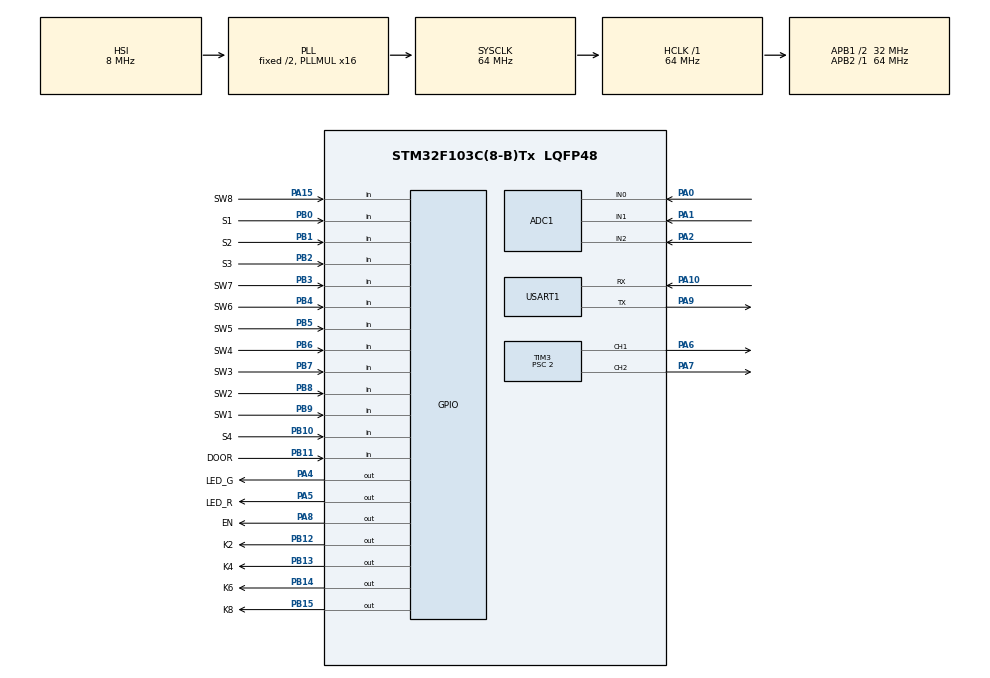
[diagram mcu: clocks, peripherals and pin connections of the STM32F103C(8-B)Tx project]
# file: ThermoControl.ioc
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ADC1.Channel-0\#ChannelRegularConversion=ADC_CHANNEL_0
ADC1.Channel-1\#ChannelRegularConversion=ADC_CHANNEL_1
ADC1.Channel-2\#ChannelRegularConversion=ADC_CHANNEL_2
ADC1.ContinuousConvMode=ENABLE
ADC1.NbrOfConversion=3
ADC1.NbrOfConversionFlag=1
ADC1.Rank-0\#ChannelRegularConversion=1
ADC1.Rank-1\#ChannelRegularConversion=2
ADC1.Rank-2\#ChannelRegularConversion=3
ADC1.SamplingTime-0\#ChannelRegularConversion=ADC_SAMPLETIME_41CYCLES_5
ADC1.SamplingTime-1\#ChannelRegularConversion=ADC_SAMPLETIME_41CYCLES_5
ADC1.SamplingTime-2\#ChannelRegularConversion=ADC_SAMPLETIME_41CYCLES_5
ADC1.master=1
Dma.ADC1.0.Direction=DMA_PERIPH_TO_MEMORY
Dma.ADC1.0.Instance=DMA1_Channel1
Dma.ADC1.0.MemDataAlignment=DMA_MDATAALIGN_HALFWORD
Dma.ADC1.0.MemInc=DMA_MINC_ENABLE
Dma.ADC1.0.Mode=DMA_NORMAL
Dma.ADC1.0.PeriphDataAlignment=DMA_PDATAALIGN_HALFWORD
Dma.ADC1.0.PeriphInc=DMA_PINC_DISABLE
Dma.ADC1.0.Priority=DMA_PRIORITY_LOW
Dma.Request0=ADC1
FREERTOS.BinarySemaphores01=mbSem,Static,mbSemControlBlock
FREERTOS.Events01=xOSEvent,Static,xOSEventControlBlock;xUARTEvnet,Static,xUARTEvnetControlBlock;xSystemControlEvent,Static,xSystemControlEventControlBlock
FREERTOS.INCLUDE_xSemaphoreGetMutexHolder=1
FREERTOS.Tasks01=defaultTask,24,128,StartDefaultTask,Default,NULL,Static,defaultTaskBuffer,defaultTaskControlBlock;DIN_DOUT,24,160,vDTask,As external,NULL,Static,DIN_DOUTBuffer,DIN_DOUTControlBlock;UARTTask,32,128,StartUARTTask,As external,NULL,Static,UARTTaskBuffer,UARTTaskControlBlock;DataTask,24,256,vDATATask,As external,NULL,Static,DataTaskBuffer,DataTaskControlBlock;MBTask,24,258,vMBTask,As external,NULL,Static,MBTaskBuffer,MBTaskControlBlock
FREERTOS.configUSE_NEWLIB_REENTRANT=1
IWDG.Prescaler=IWDG_PRESCALER_64
Mcu.Family=STM32F1
Mcu.Name=STM32F103C(8-B)Tx
Mcu.Package=LQFP48
NVIC.DMA1_Channel1_IRQn=true\:5\:0\:false\:false\:true\:true\:false\:true\:true
NVIC.PriorityGroup=NVIC_PRIORITYGROUP_4
NVIC.TIM1_UP_IRQn=true\:15\:0\:false\:false\:true\:false\:false\:true\:true
NVIC.TIM2_IRQn=true\:5\:0\:false\:false\:true\:true\:true\:true\:true
NVIC.TIM4_IRQn=true\:5\:0\:false\:false\:true\:true\:true\:true\:true
NVIC.TimeBase=TIM1_UP_IRQn
NVIC.TimeBaseIP=TIM1
NVIC.USART1_IRQn=true\:5\:0\:false\:false\:true\:true\:true\:true\:true
PA0-WKUP.Signal=ADCx_IN0
PA1.Signal=ADCx_IN1
PA10.Mode=Asynchronous
PA10.Signal=USART1_RX
PA13.Mode=Serial_Wire
PA13.Signal=SYS_JTMS-SWDIO
PA14.Mode=Serial_Wire
PA14.Signal=SYS_JTCK-SWCLK
PA15.GPIO_Label=SW8
PA15.Signal=GPIO_Input
PA2.Signal=ADCx_IN2
PA4.GPIO_Label=LED_G
PA4.Signal=GPIO_Output
PA5.GPIO_Label=LED_R
PA5.Signal=GPIO_Output
PA6.GPIO_Speed=GPIO_SPEED_FREQ_HIGH
PA6.Signal=S_TIM3_CH1
PA7.GPIO_Speed=GPIO_SPEED_FREQ_HIGH
PA7.Signal=S_TIM3_CH2
PA8.GPIO_Label=EN
PA8.Signal=GPIO_Output
PA9.Mode=Asynchronous
PA9.Signal=USART1_TX
PB0.GPIO_Label=S1
PB0.Signal=GPIO_Input
PB1.GPIO_Label=S2
PB1.Signal=GPIO_Input
PB10.GPIO_Label=S4
PB10.Signal=GPIO_Input
PB11.GPIO_Label=DOOR
PB11.Signal=GPIO_Input
PB12.GPIO_Label=K2
PB12.Signal=GPIO_Output
PB13.GPIO_Label=K4
PB13.Signal=GPIO_Output
PB14.GPIO_Label=K6
PB14.Signal=GPIO_Output
PB15.GPIO_Label=K8
PB15.Signal=GPIO_Output
PB2.GPIO_Label=S3
PB2.Signal=GPIO_Input
PB3.GPIO_Label=SW7
PB3.Signal=GPIO_Input
PB4.GPIO_Label=SW6
PB4.Signal=GPIO_Input
PB5.GPIO_Label=SW5
PB5.Signal=GPIO_Input
PB6.GPIO_Label=SW4
PB6.Signal=GPIO_Input
PB7.GPIO_Label=SW3
PB7.Signal=GPIO_Input
PB8.GPIO_Label=SW2
PB8.Signal=GPIO_Input
PB9.GPIO_Label=SW1
PB9.Signal=GPIO_Input
PC15-OSC32_OUT.Signal=RCC_OSC32_OUT
PD0-OSC_IN.Signal=RCC_OSC_IN
ProjectManager.HeapSize=0x200
ProjectManager.StackSize=0x400
ProjectManager.TargetToolchain=STM32CubeIDE
RCC.ADCPresc=RCC_ADCPCLK2_DIV6
RCC.AHBFreq_Value=64000000
RCC.APB1CLKDivider=RCC_HCLK_DIV2
RCC.APB1Freq_Value=32000000
RCC.APB1TimFreq_Value=64000000
RCC.APB2Freq_Value=64000000
RCC.APB2TimFreq_Value=64000000
RCC.HCLKFreq_Value=64000000
RCC.PLLMUL=RCC_PLL_MUL16
RCC.SYSCLKFreq_VALUE=64000000
RCC.SYSCLKSource=RCC_SYSCLKSOURCE_PLLCLK
RCC.USBFreq_Value=64000000
SH.ADCx_IN0.0=ADC1_IN0,IN0
SH.ADCx_IN1.0=ADC1_IN1,IN1
SH.ADCx_IN2.0=ADC1_IN2,IN2
SH.S_TIM3_CH1.0=TIM3_CH1,PWM Generation1 CH1
SH.S_TIM3_CH2.0=TIM3_CH2,PWM Generation2 CH2
TIM2.Period=1000
TIM2.Prescaler=3264
TIM2.TIM_MasterOutputTrigger=TIM_TRGO_UPDATE
TIM3.Channel-PWM\ Generation1\ CH1=TIM_CHANNEL_1
TIM3.Channel-PWM\ Generation2\ CH2=TIM_CHANNEL_2
TIM3.OCFastMode_PWM-PWM\ Generation1\ CH1=TIM_OCFAST_ENABLE
TIM3.OCFastMode_PWM-PWM\ Generation2\ CH2=TIM_OCFAST_ENABLE
TIM3.Period=1000
TIM3.Prescaler=2
TIM3.Pulse-PWM\ Generation2\ CH2=500
TIM4.AutoReloadPreload=TIM_AUTORELOAD_PRELOAD_DISABLE
TIM4.Period=2000
TIM4.Prescaler=32000
TIM4.TIM_MasterOutputTrigger=TIM_TRGO_UPDATE
USART1.Parity=PARITY_ODD
USART1.StopBits=STOPBITS_1
USART1.VirtualMode=VM_ASYNC
USART1.WordLength=WORDLENGTH_9B
VP_FREERTOS_VS_CMSIS_V2.Mode=CMSIS_V2
VP_IWDG_VS_IWDG.Mode=IWDG_Activate
VP_SYS_VS_tim1.Mode=TIM1
VP_TIM2_VS_ClockSourceINT.Mode=Internal
VP_TIM3_VS_ClockSourceINT.Mode=Internal
VP_TIM4_VS_ClockSourceINT.Mode=Internal
board=custom

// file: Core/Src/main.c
/* USER CODE BEGIN Header */
/**
  ******************************************************************************
  * @file           : main.c
  * @brief          : Main program body
  ******************************************************************************
  * @attention
  *
  * Copyright (c) 2023 STMicroelectronics.
  * All rights reserved.
  *
  * This software is licensed under terms that can be found in the LICENSE file
  * in the root directory of this software component.
  * If no LICENSE file comes with this software, it is provided AS-IS.
  *
  ******************************************************************************
  */
/* USER CODE END Header */
#include "main.h"
#include "cmsis_os.h"

/* USER CODE BEGIN Includes */
#include "mainFSM.h"
/* USER CODE END Includes */

typedef StaticTask_t osStaticThreadDef_t;
typedef StaticSemaphore_t osStaticSemaphoreDef_t;
typedef StaticEventGroup_t osStaticEventGroupDef_t;

ADC_HandleTypeDef hadc1;
DMA_HandleTypeDef hdma_adc1;

IWDG_HandleTypeDef hiwdg;

TIM_HandleTypeDef htim2;
TIM_HandleTypeDef htim3;
TIM_HandleTypeDef htim4;

UART_HandleTypeDef huart1;

/* Definitions for defaultTask */
osThreadId_t defaultTaskHandle;
uint32_t defaultTaskBuffer[ 128 ];
osStaticThreadDef_t defaultTaskControlBlock;
const osThreadAttr_t defaultTask_attributes = {
  .name = "defaultTask",
  .cb_mem = &defaultTaskControlBlock,
  .cb_size = sizeof(defaultTaskControlBlock),
  .stack_mem = &defaultTaskBuffer[0],
  .stack_size = sizeof(defaultTaskBuffer),
  .priority = (osPriority_t) osPriorityNormal,
};
/* Definitions for DIN_DOUT */
osThreadId_t DIN_DOUTHandle;
uint32_t DIN_DOUTBuffer[ 160 ];
osStaticThreadDef_t DIN_DOUTControlBlock;
const osThreadAttr_t DIN_DOUT_attributes = {
  .name = "DIN_DOUT",
  .cb_mem = &DIN_DOUTControlBlock,
  .cb_size = sizeof(DIN_DOUTControlBlock),
  .stack_mem = &DIN_DOUTBuffer[0],
  .stack_size = sizeof(DIN_DOUTBuffer),
  .priority = (osPriority_t) osPriorityNormal,
};
/* Definitions for UARTTask */
osThreadId_t UARTTaskHandle;
uint32_t UARTTaskBuffer[ 128 ];
osStaticThreadDef_t UARTTaskControlBlock;
const osThreadAttr_t UARTTask_attributes = {
  .name = "UARTTask",
  .cb_mem = &UARTTaskControlBlock,
  .cb_size = sizeof(UARTTaskControlBlock),
  .stack_mem = &UARTTaskBuffer[0],
  .stack_size = sizeof(UARTTaskBuffer),
  .priority = (osPriority_t) osPriorityAboveNormal,
};
/* Definitions for DataTask */
osThreadId_t DataTaskHandle;
uint32_t DataTaskBuffer[ 256 ];
osStaticThreadDef_t DataTaskControlBlock;
const osThreadAttr_t DataTask_attributes = {
  .name = "DataTask",
  .cb_mem = &DataTaskControlBlock,
  .cb_size = sizeof(DataTaskControlBlock),
  .stack_mem = &DataTaskBuffer[0],
  .stack_size = sizeof(DataTaskBuffer),
  .priority = (osPriority_t) osPriorityNormal,
};
/* Definitions for MBTask */
osThreadId_t MBTaskHandle;
uint32_t MBTaskBuffer[ 258 ];
osStaticThreadDef_t MBTaskControlBlock;
const osThreadAttr_t MBTask_attributes = {
  .name = "MBTask",
  .cb_mem = &MBTaskControlBlock,
  .cb_size = sizeof(MBTaskControlBlock),
  .stack_mem = &MBTaskBuffer[0],
  .stack_size = sizeof(MBTaskBuffer),
  .priority = (osPriority_t) osPriorityNormal,
};
/* Definitions for mbSem */
osSemaphoreId_t mbSemHandle;
osStaticSemaphoreDef_t mbSemControlBlock;
const osSemaphoreAttr_t mbSem_attributes = {
  .name = "mbSem",
  .cb_mem = &mbSemControlBlock,
  .cb_size = sizeof(mbSemControlBlock),
};
/* Definitions for xOSEvent */
osEventFlagsId_t xOSEventHandle;
osStaticEventGroupDef_t xOSEventControlBlock;
const osEventFlagsAttr_t xOSEvent_attributes = {
  .name = "xOSEvent",
  .cb_mem = &xOSEventControlBlock,
  .cb_size = sizeof(xOSEventControlBlock),
};
/* Definitions for xUARTEvnet */
osEventFlagsId_t xUARTEvnetHandle;
osStaticEventGroupDef_t xUARTEvnetControlBlock;
const osEventFlagsAttr_t xUARTEvnet_attributes = {
  .name = "xUARTEvnet",
  .cb_mem = &xUARTEvnetControlBlock,
  .cb_size = sizeof(xUARTEvnetControlBlock),
};
/* Definitions for xSystemControlEvent */
osEventFlagsId_t xSystemControlEventHandle;
osStaticEventGroupDef_t xSystemControlEventControlBlock;
const osEventFlagsAttr_t xSystemControlEvent_attributes = {
  .name = "xSystemControlEvent",
  .cb_mem = &xSystemControlEventControlBlock,
  .cb_size = sizeof(xSystemControlEventControlBlock),
};
/* USER CODE BEGIN PV */
EventGroupHandle_t xGetOSEvent()
{
	return (xOSEventHandle);
}
 EventGroupHandle_t xGetUARTEvent()
 {
	 return (xUARTEvnetHandle);
 }
 EventGroupHandle_t xGetSystemControlEvent()
 {
	 return (xSystemControlEventHandle);
 }
 osSemaphoreId_t xGetSystemSem()
 {
 return (mbSemHandle);
 }

/* USER CODE END PV */

void SystemClock_Config(void);
static void MX_GPIO_Init(void);
static void MX_DMA_Init(void);
static void MX_USART1_UART_Init(void);
static void MX_TIM2_Init(void);
static void MX_ADC1_Init(void);
static void MX_TIM3_Init(void);
static void MX_TIM4_Init(void);
static void MX_IWDG_Init(void);
void StartDefaultTask(void *argument);
extern void vDTask(void *argument);
extern void StartUARTTask(void *argument);
extern void vDATATask(void *argument);
extern void vMBTask(void *argument);

/* USER CODE BEGIN 0 */
void vTimerInit(uint16_t timeout)
{
	htim2.Init.Period = timeout;
    if (HAL_TIM_Base_Init(&htim2) != HAL_OK)
	{
	  Error_Handler();
	}
#ifdef MASTER_MODE
    htim4.Init.Prescaler = 3200;
    htim4.Init.Period =20;
        if (HAL_TIM_Base_Init(&htim4) != HAL_OK)
    	{
    	  Error_Handler();
    	}

#endif
}
void vStartTimer()
{
	HAL_TIM_Base_Stop_IT(&htim2);
	htim2.Instance->CNT=0;
	HAL_TIM_Base_Start_IT(&htim2);
}
void vStopTimer()
{
	HAL_TIM_Base_Stop_IT(&htim2);
}

#ifdef MASTER_MODE
uint16_t timer_res = 0;
static uint16_t respond_timeout = 0;
void vRespondInit(int16_t timeout)
{
	HAL_TIM_Base_Stop_IT(&htim4);
	respond_timeout =timeout;
	timer_res = 0;
}
void vStartRespond()
{
	HAL_TIM_Base_Stop_IT(&htim4);
	htim4.Instance->CNT=0;
	timer_res = 0;
	HAL_TIM_Base_Start_IT(&htim4);
}
void vStopRespond()
{
	timer_res = 0;
	HAL_TIM_Base_Stop_IT(&htim4);
}

void vResHeandler()
{
	if (++timer_res == respond_timeout)
	{
			timer_res = 0;
			prvvTIMERExpiredISR();
	}
}
#endif
/* USER CODE END 0 */

int main(void)
{

  /* MCU Configuration--------------------------------------------------------*/

  /* Reset of all peripherals, Initializes the Flash interface and the Systick. */
  HAL_Init();

  /* Configure the system clock */
  SystemClock_Config();

  /* Initialize all configured peripherals */
  MX_GPIO_Init();
  MX_DMA_Init();
  MX_USART1_UART_Init();
  MX_TIM2_Init();
  MX_ADC1_Init();
  MX_TIM3_Init();
  MX_TIM4_Init();
  MX_IWDG_Init();

  /* Init scheduler */
  osKernelInitialize();

  /* Create the semaphores(s) */
  /* creation of mbSem */
  mbSemHandle = osSemaphoreNew(1, 1, &mbSem_attributes);

  /* Create the thread(s) */
  /* creation of defaultTask */
  defaultTaskHandle = osThreadNew(StartDefaultTask, NULL, &defaultTask_attributes);

  /* creation of DIN_DOUT */
  DIN_DOUTHandle = osThreadNew(vDTask, NULL, &DIN_DOUT_attributes);

  /* creation of UARTTask */
  UARTTaskHandle = osThreadNew(StartUARTTask, NULL, &UARTTask_attributes);

  /* creation of DataTask */
  DataTaskHandle = osThreadNew(vDATATask, NULL, &DataTask_attributes);

  /* creation of MBTask */
  MBTaskHandle = osThreadNew(vMBTask, NULL, &MBTask_attributes);

  /* Create the event(s) */
  /* creation of xOSEvent */
  xOSEventHandle = osEventFlagsNew(&xOSEvent_attributes);

  /* creation of xUARTEvnet */
  xUARTEvnetHandle = osEventFlagsNew(&xUARTEvnet_attributes);

  /* creation of xSystemControlEvent */
  xSystemControlEventHandle = osEventFlagsNew(&xSystemControlEvent_attributes);

  /* USER CODE BEGIN RTOS_EVENTS */
  InitSystemEnvet(xSystemControlEventHandle);
  /* add events, ... */
  /* USER CODE END RTOS_EVENTS */

  /* Start scheduler */
  osKernelStart();

  /* We should never get here as control is now taken by the scheduler */
  /* Infinite loop */
  while (1)
  {

  }
}

void SystemClock_Config(void)
{
  RCC_OscInitTypeDef RCC_OscInitStruct = {0};
  RCC_ClkInitTypeDef RCC_ClkInitStruct = {0};
  RCC_PeriphCLKInitTypeDef PeriphClkInit = {0};

  /** Initializes the RCC Oscillators according to the specified parameters
  * in the RCC_OscInitTypeDef structure.
  */
  RCC_OscInitStruct.OscillatorType = RCC_OSCILLATORTYPE_HSI|RCC_OSCILLATORTYPE_LSI;
  RCC_OscInitStruct.HSIState = RCC_HSI_ON;
  RCC_OscInitStruct.HSICalibrationValue = RCC_HSICALIBRATION_DEFAULT;
  RCC_OscInitStruct.LSIState = RCC_LSI_ON;
  RCC_OscInitStruct.PLL.PLLState = RCC_PLL_ON;
  RCC_OscInitStruct.PLL.PLLSource = RCC_PLLSOURCE_HSI_DIV2;
  RCC_OscInitStruct.PLL.PLLMUL = RCC_PLL_MUL16;
  if (HAL_RCC_OscConfig(&RCC_OscInitStruct) != HAL_OK)
  {
    Error_Handler();
  }

  /** Initializes the CPU, AHB and APB buses clocks
  */
  RCC_ClkInitStruct.ClockType = RCC_CLOCKTYPE_HCLK|RCC_CLOCKTYPE_SYSCLK
                              |RCC_CLOCKTYPE_PCLK1|RCC_CLOCKTYPE_PCLK2;
  RCC_ClkInitStruct.SYSCLKSource = RCC_SYSCLKSOURCE_PLLCLK;
  RCC_ClkInitStruct.AHBCLKDivider = RCC_SYSCLK_DIV1;
  RCC_ClkInitStruct.APB1CLKDivider = RCC_HCLK_DIV2;
  RCC_ClkInitStruct.APB2CLKDivider = RCC_HCLK_DIV1;

  if (HAL_RCC_ClockConfig(&RCC_ClkInitStruct, FLASH_LATENCY_2) != HAL_OK)
  {
    Error_Handler();
  }
  PeriphClkInit.PeriphClockSelection = RCC_PERIPHCLK_ADC;
  PeriphClkInit.AdcClockSelection = RCC_ADCPCLK2_DIV6;
  if (HAL_RCCEx_PeriphCLKConfig(&PeriphClkInit) != HAL_OK)
  {
    Error_Handler();
  }
}

static void MX_ADC1_Init(void)
{

  ADC_ChannelConfTypeDef sConfig = {0};

  /** Common config
  */
  hadc1.Instance = ADC1;
  hadc1.Init.ScanConvMode = ADC_SCAN_ENABLE;
  hadc1.Init.ContinuousConvMode = ENABLE;
  hadc1.Init.DiscontinuousConvMode = DISABLE;
  hadc1.Init.ExternalTrigConv = ADC_SOFTWARE_START;
  hadc1.Init.DataAlign = ADC_DATAALIGN_RIGHT;
  hadc1.Init.NbrOfConversion = 3;
  if (HAL_ADC_Init(&hadc1) != HAL_OK)
  {
    Error_Handler();
  }

  /** Configure Regular Channel
  */
  sConfig.Channel = ADC_CHANNEL_0;
  sConfig.Rank = ADC_REGULAR_RANK_1;
  sConfig.SamplingTime = ADC_SAMPLETIME_41CYCLES_5;
  if (HAL_ADC_ConfigChannel(&hadc1, &sConfig) != HAL_OK)
  {
    Error_Handler();
  }

  /** Configure Regular Channel
  */
  sConfig.Channel = ADC_CHANNEL_1;
  sConfig.Rank = ADC_REGULAR_RANK_2;
  if (HAL_ADC_ConfigChannel(&hadc1, &sConfig) != HAL_OK)
  {
    Error_Handler();
  }

  /** Configure Regular Channel
  */
  sConfig.Channel = ADC_CHANNEL_2;
  sConfig.Rank = ADC_REGULAR_RANK_3;
  if (HAL_ADC_ConfigChannel(&hadc1, &sConfig) != HAL_OK)
  {
    Error_Handler();
  }

}

static void MX_IWDG_Init(void)
{

  hiwdg.Instance = IWDG;
  hiwdg.Init.Prescaler = IWDG_PRESCALER_64;
  hiwdg.Init.Reload = 4095;
  if (HAL_IWDG_Init(&hiwdg) != HAL_OK)
  {
    Error_Handler();
  }

}

static void MX_TIM2_Init(void)
{

  TIM_ClockConfigTypeDef sClockSourceConfig = {0};
  TIM_MasterConfigTypeDef sMasterConfig = {0};

  htim2.Instance = TIM2;
  htim2.Init.Prescaler = 3264;
  htim2.Init.CounterMode = TIM_COUNTERMODE_UP;
  htim2.Init.Period = 1000;
  htim2.Init.ClockDivision = TIM_CLOCKDIVISION_DIV1;
  htim2.Init.AutoReloadPreload = TIM_AUTORELOAD_PRELOAD_DISABLE;
  if (HAL_TIM_Base_Init(&htim2) != HAL_OK)
  {
    Error_Handler();
  }
  sClockSourceConfig.ClockSource = TIM_CLOCKSOURCE_INTERNAL;
  if (HAL_TIM_ConfigClockSource(&htim2, &sClockSourceConfig) != HAL_OK)
  {
    Error_Handler();
  }
  sMasterConfig.MasterOutputTrigger = TIM_TRGO_UPDATE;
  sMasterConfig.MasterSlaveMode = TIM_MASTERSLAVEMODE_DISABLE;
  if (HAL_TIMEx_MasterConfigSynchronization(&htim2, &sMasterConfig) != HAL_OK)
  {
    Error_Handler();
  }

}

static void MX_TIM3_Init(void)
{

  TIM_ClockConfigTypeDef sClockSourceConfig = {0};
  TIM_MasterConfigTypeDef sMasterConfig = {0};
  TIM_OC_InitTypeDef sConfigOC = {0};

  htim3.Instance = TIM3;
  htim3.Init.Prescaler = 2;
  htim3.Init.CounterMode = TIM_COUNTERMODE_UP;
  htim3.Init.Period = 1000;
  htim3.Init.ClockDivision = TIM_CLOCKDIVISION_DIV1;
  htim3.Init.AutoReloadPreload = TIM_AUTORELOAD_PRELOAD_DISABLE;
  if (HAL_TIM_Base_Init(&htim3) != HAL_OK)
  {
    Error_Handler();
  }
  sClockSourceConfig.ClockSource = TIM_CLOCKSOURCE_INTERNAL;
  if (HAL_TIM_ConfigClockSource(&htim3, &sClockSourceConfig) != HAL_OK)
  {
    Error_Handler();
  }
  if (HAL_TIM_PWM_Init(&htim3) != HAL_OK)
  {
    Error_Handler();
  }
  sMasterConfig.MasterOutputTrigger = TIM_TRGO_RESET;
  sMasterConfig.MasterSlaveMode = TIM_MASTERSLAVEMODE_DISABLE;
  if (HAL_TIMEx_MasterConfigSynchronization(&htim3, &sMasterConfig) != HAL_OK)
  {
    Error_Handler();
  }
  sConfigOC.OCMode = TIM_OCMODE_PWM1;
  sConfigOC.Pulse = 0;
  sConfigOC.OCPolarity = TIM_OCPOLARITY_HIGH;
  sConfigOC.OCFastMode = TIM_OCFAST_ENABLE;
  if (HAL_TIM_PWM_ConfigChannel(&htim3, &sConfigOC, TIM_CHANNEL_1) != HAL_OK)
  {
    Error_Handler();
  }
  sConfigOC.Pulse = 500;
  if (HAL_TIM_PWM_ConfigChannel(&htim3, &sConfigOC, TIM_CHANNEL_2) != HAL_OK)
  {
    Error_Handler();
  }
  HAL_TIM_MspPostInit(&htim3);

}

static void MX_TIM4_Init(void)
{

  TIM_ClockConfigTypeDef sClockSourceConfig = {0};
  TIM_MasterConfigTypeDef sMasterConfig = {0};

  htim4.Instance = TIM4;
  htim4.Init.Prescaler = 32000;
  htim4.Init.CounterMode = TIM_COUNTERMODE_UP;
  htim4.Init.Period = 2000;
  htim4.Init.ClockDivision = TIM_CLOCKDIVISION_DIV1;
  htim4.Init.AutoReloadPreload = TIM_AUTORELOAD_PRELOAD_DISABLE;
  if (HAL_TIM_Base_Init(&htim4) != HAL_OK)
  {
    Error_Handler();
  }
  sClockSourceConfig.ClockSource = TIM_CLOCKSOURCE_INTERNAL;
  if (HAL_TIM_ConfigClockSource(&htim4, &sClockSourceConfig) != HAL_OK)
  {
    Error_Handler();
  }
  sMasterConfig.MasterOutputTrigger = TIM_TRGO_UPDATE;
  sMasterConfig.MasterSlaveMode = TIM_MASTERSLAVEMODE_DISABLE;
  if (HAL_TIMEx_MasterConfigSynchronization(&htim4, &sMasterConfig) != HAL_OK)
  {
    Error_Handler();
  }

}

static void MX_USART1_UART_Init(void)
{

  huart1.Instance = USART1;
  huart1.Init.BaudRate = 115200;
  huart1.Init.WordLength = UART_WORDLENGTH_9B;
  huart1.Init.StopBits = UART_STOPBITS_1;
  huart1.Init.Parity = UART_PARITY_ODD;
  huart1.Init.Mode = UART_MODE_TX_RX;
  huart1.Init.HwFlowCtl = UART_HWCONTROL_NONE;
  huart1.Init.OverSampling = UART_OVERSAMPLING_16;
  if (HAL_UART_Init(&huart1) != HAL_OK)
  {
    Error_Handler();
  }

}

static void MX_DMA_Init(void)
{

  /* DMA controller clock enable */
  __HAL_RCC_DMA1_CLK_ENABLE();

  /* DMA interrupt init */
  /* DMA1_Channel1_IRQn interrupt configuration */
  HAL_NVIC_SetPriority(DMA1_Channel1_IRQn, 5, 0);
  HAL_NVIC_EnableIRQ(DMA1_Channel1_IRQn);

}

static void MX_GPIO_Init(void)
{
  GPIO_InitTypeDef GPIO_InitStruct = {0};

  /* GPIO Ports Clock Enable */
  __HAL_RCC_GPIOC_CLK_ENABLE();
  __HAL_RCC_GPIOD_CLK_ENABLE();
  __HAL_RCC_GPIOA_CLK_ENABLE();
  __HAL_RCC_GPIOB_CLK_ENABLE();

  /*Configure GPIO pin Output Level */
  HAL_GPIO_WritePin(GPIOA, LED_G_Pin|LED_R_Pin|EN_Pin, GPIO_PIN_RESET);

  /*Configure GPIO pin Output Level */
  HAL_GPIO_WritePin(GPIOB, K2_Pin|K4_Pin|K6_Pin|K8_Pin, GPIO_PIN_RESET);

  /*Configure GPIO pins : LED_G_Pin LED_R_Pin EN_Pin */
  GPIO_InitStruct.Pin = LED_G_Pin|LED_R_Pin|EN_Pin;
  GPIO_InitStruct.Mode = GPIO_MODE_OUTPUT_PP;
  GPIO_InitStruct.Pull = GPIO_NOPULL;
  GPIO_InitStruct.Speed = GPIO_SPEED_FREQ_LOW;
  HAL_GPIO_Init(GPIOA, &GPIO_InitStruct);

  /*Configure GPIO pins : S1_Pin S2_Pin S3_Pin S4_Pin
                           DOOR_Pin SW7_Pin SW6_Pin SW5_Pin
                           SW4_Pin SW3_Pin SW2_Pin SW1_Pin */
  GPIO_InitStruct.Pin = S1_Pin|S2_Pin|S3_Pin|S4_Pin
                          |DOOR_Pin|SW7_Pin|SW6_Pin|SW5_Pin
                          |SW4_Pin|SW3_Pin|SW2_Pin|SW1_Pin;
  GPIO_InitStruct.Mode = GPIO_MODE_INPUT;
  GPIO_InitStruct.Pull = GPIO_NOPULL;
  HAL_GPIO_Init(GPIOB, &GPIO_InitStruct);

  /*Configure GPIO pins : K2_Pin K4_Pin K6_Pin K8_Pin */
  GPIO_InitStruct.Pin = K2_Pin|K4_Pin|K6_Pin|K8_Pin;
  GPIO_InitStruct.Mode = GPIO_MODE_OUTPUT_PP;
  GPIO_InitStruct.Pull = GPIO_NOPULL;
  GPIO_InitStruct.Speed = GPIO_SPEED_FREQ_LOW;
  HAL_GPIO_Init(GPIOB, &GPIO_InitStruct);

  /*Configure GPIO pin : SW8_Pin */
  GPIO_InitStruct.Pin = SW8_Pin;
  GPIO_InitStruct.Mode = GPIO_MODE_INPUT;
  GPIO_InitStruct.Pull = GPIO_NOPULL;
  HAL_GPIO_Init(SW8_GPIO_Port, &GPIO_InitStruct);

}

/* USER CODE BEGIN 4 */
void vResetWDT()
{
	HAL_IWDG_Refresh(&hiwdg);
}
/* USER CODE END 4 */

void StartDefaultTask(void *argument)
{
  /* USER CODE BEGIN 5 */
  /* Infinite loop */

  for(;;)
  {
    osDelay(10);

  }
  /* USER CODE END 5 */
}

void HAL_TIM_PeriodElapsedCallback(TIM_HandleTypeDef *htim)
{
  /* USER CODE BEGIN Callback 0 */
#ifdef SLAVE_MODE
	 if (htim->Instance == TIM2) {
		 rvvTIMERExpiredISR();
	  }
#endif

#ifdef MASTER_MODE
	 if (htim->Instance == TIM2) {
	 prvvTIMERExpiredISR();
	 }
	if (htim->Instance == TIM4) {
		 vResHeandler();
	 }

#endif

  /* USER CODE END Callback 0 */
  if (htim->Instance == TIM1) {
    HAL_IncTick();
  }
}

void Error_Handler(void)
{
  __disable_irq();
  while (1)
  {
  }
}
